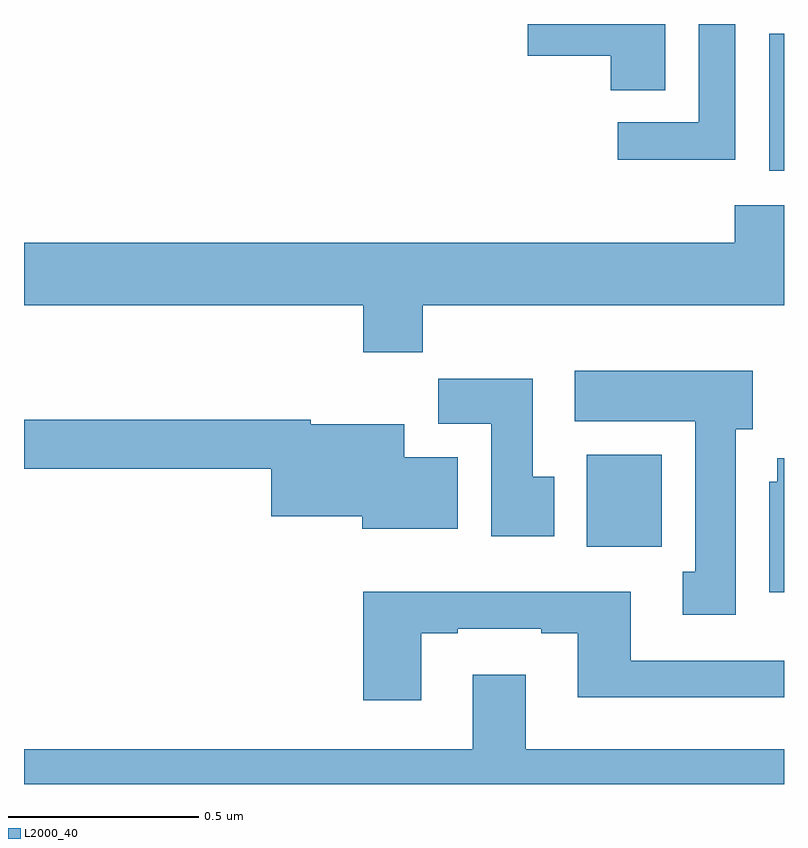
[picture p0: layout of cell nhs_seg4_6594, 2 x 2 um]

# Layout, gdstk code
import gdstk
lib = gdstk.Library(unit=1e-6, precision=1e-09)
def R(c, l, rs):  # rectangles x0, y0, x1, y1
    for r in rs: c.add(gdstk.rectangle(r[:2], r[2:], *l))
def P(c, l, *ps):  # polygons
    for p in ps: c.add(gdstk.Polygon(p, *l))
L2000_40 = (2000, 40)

nhs_seg4_6594 = lib.new_cell('nhs_seg4_6594')
R(nhs_seg4_6594, L2000_40, [(193.481,789.524,193.678,789.766), (193.961,790.514,194,790.875)])
P(nhs_seg4_6594, L2000_40, [(193.872,790.9),(193.776,790.9),(193.776,790.641),(193.563,790.641),(193.563,790.543),(193.872,790.543)],
  [(193.687,790.9),(193.326,790.9),(193.326,790.817),(193.544,790.817),(193.544,790.726),(193.687,790.726)],
  [(193.049,790.16),(194,790.16),(194,790.423),(193.871,790.423),(193.871,790.324),(192,790.324),(192,790.16),(192.893,790.16),(192.893,790.036),(193.049,790.036)],
  [(193.873,789.834),(193.918,789.834),(193.918,789.988),(193.449,789.988),(193.449,789.854),(193.766,789.854),(193.766,789.458),(193.733,789.458),(193.733,789.345),(193.873,789.345)],
  [(193.396,789.708),(193.339,789.708),(193.339,789.967),(193.09,789.967),(193.09,789.848),(193.229,789.848),(193.229,789.552),(193.396,789.552)],
  [(193.141,789.76),(193,789.76),(193,789.847),(192.754,789.847),(192.754,789.859),(192,789.859),(192,789.73),(192.65,789.73),(192.65,789.605),(192.89,789.605),(192.89,789.572),(193.141,789.572)],
  [(194,789.757),(193.982,789.757),(193.982,789.696),(193.961,789.696),(193.961,789.404),(194,789.404)],
  [(193.045,789.297),(193.141,789.297),(193.141,789.309),(193.361,789.309),(193.361,789.297),(193.457,789.297),(193.457,789.128),(194,789.128),(194,789.225),(193.597,789.225),(193.597,789.406),(192.893,789.406),(192.893,789.12),(193.045,789.12)],
  [(194,788.992),(193.321,788.992),(193.321,789.187),(193.181,789.187),(193.181,788.992),(192,788.992),(192,788.9),(194,788.9)])

lib.write_gds('nhs_seg4_6594.gds')
